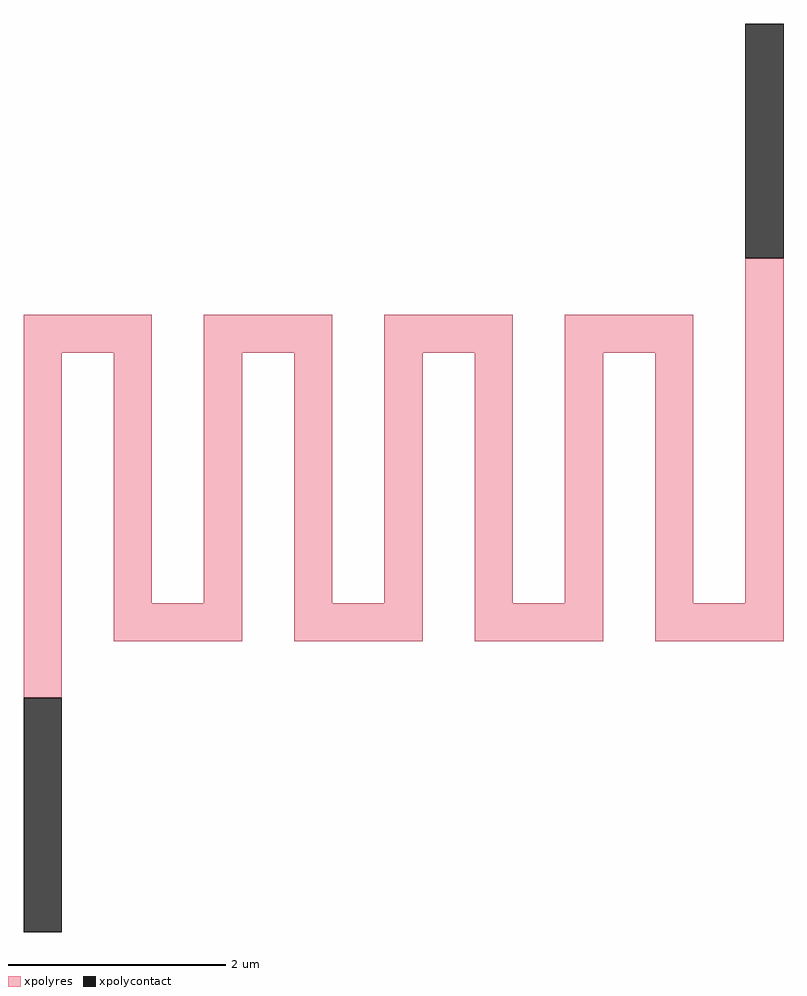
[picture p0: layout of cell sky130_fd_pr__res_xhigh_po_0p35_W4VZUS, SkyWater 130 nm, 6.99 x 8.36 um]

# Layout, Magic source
magic
tech sky130A
magscale 1 2
<< xpolycontact >>
rect 629 404 699 836
rect -699 -836 -629 -404
<< xpolyres >>
rect -699 230 -463 300
rect -699 -404 -629 230
rect -533 -230 -463 230
rect -367 230 -131 300
rect -367 -230 -297 230
rect -533 -300 -297 -230
rect -201 -230 -131 230
rect -35 230 201 300
rect -35 -230 35 230
rect -201 -300 35 -230
rect 131 -230 201 230
rect 297 230 533 300
rect 297 -230 367 230
rect 131 -300 367 -230
rect 463 -230 533 230
rect 629 -230 699 404
rect 463 -300 699 -230
<< properties >>
string gencell sky130_fd_pr__res_xhigh_po_0p35
string library sky130
string parameters w 0.35 l 3 m 1 nx 9 wmin 0.350 lmin 0.50 rho 2000 val 171.361k dummy 0 dw 0.0 term 188.2 sterm 0.0 caplen 0 wmax 0.350 guard 0 glc 0 grc 0 gtc 0 gbc 0 compatible {sky130_fd_pr__res_xhigh_po_0p35  sky130_fd_pr__res_xhigh_po_0p69 sky130_fd_pr__res_xhigh_po_1p41  sky130_fd_pr__res_xhigh_po_2p85 sky130_fd_pr__res_xhigh_po_5p73} snake 1 full_metal 0 n_guard 0 hv_guard 0 vias 1 viagb 0 viagt 0 viagl 0 viagr 0
<< end >>
